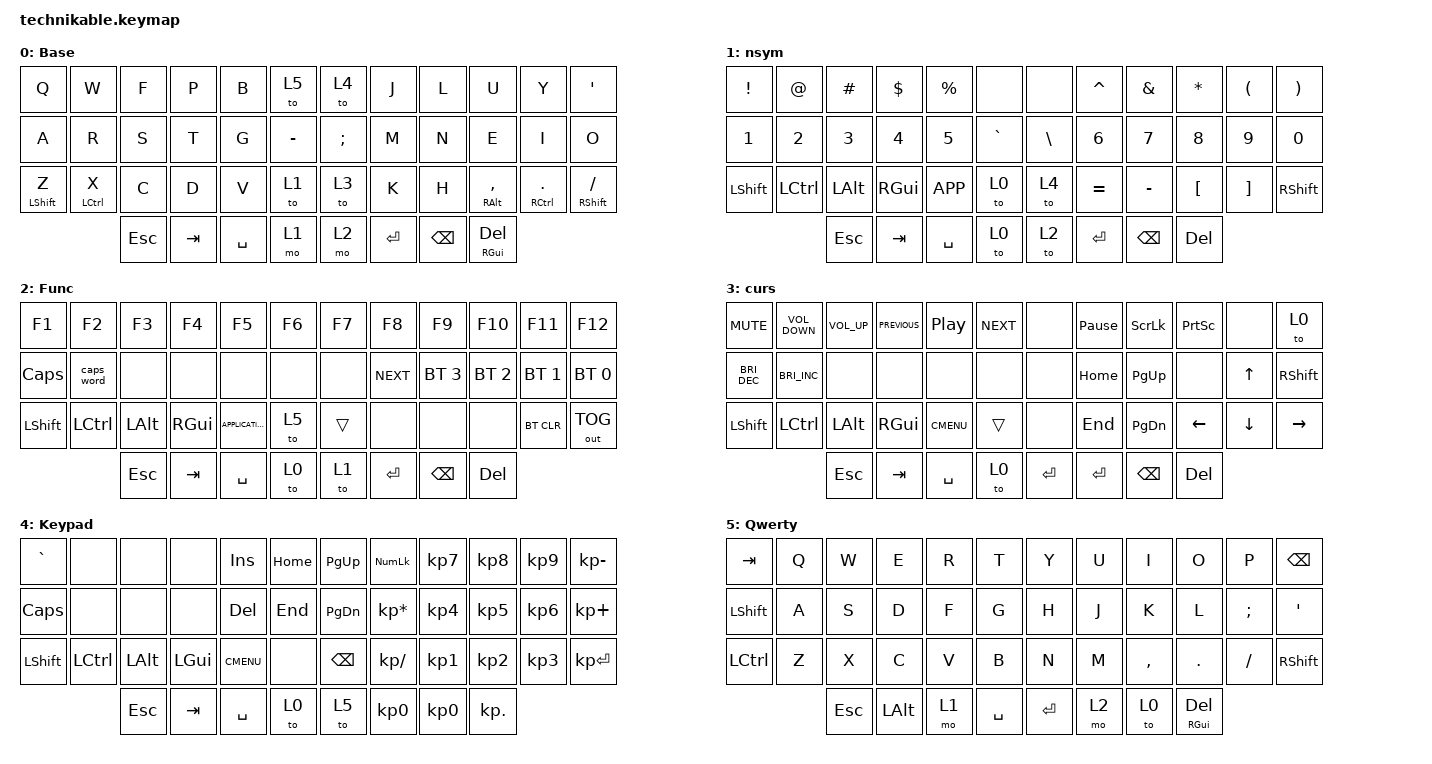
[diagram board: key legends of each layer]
/*
 * Copyright (c) 2022 Pete Johanson
 *
 * SPDX-License-Identifier: MIT
 */

#include <behaviors.dtsi>
#include <dt-bindings/zmk/bt.h>
#include <dt-bindings/zmk/keys.h>
#include <dt-bindings/zmk/outputs.h>

#define BAS_L 0
#define NAV_L 1
#define NUM_L 2
#define SYM_L 3

// Using layer taps on thumbs, having quick tap as well helps w/ repeating space/backspace

&lt { quick_tap_ms = <200>; };

/ {
    chosen { zmk,matrix_transform = &ortho_transform; };

    conditional_layers { compatible = "zmk,conditional-layers"; };

    combos { compatible = "zmk,combos"; };

    keymap {
        compatible = "zmk,keymap";

        Colemakdhm {
            label = "Base";
            bindings = <
&kp Q        &kp W               &kp F    &kp P    &kp B      &to 5             &to 4      &kp J     &kp L                 &kp U                &kp Y                     &kp SINGLE_QUOTE
&kp A        &kp R               &kp S    &kp T    &kp G      &kp MINUS         &kp SEMI   &kp M     &kp N                 &kp E                &kp I                     &kp O
&mt LSHFT Z  &mt LEFT_CONTROL X  &kp C    &kp D    &kp V      &to 1             &to 3      &kp K     &kp H                 &mt RIGHT_ALT COMMA  &mt RIGHT_CONTROL PERIOD  &mt RIGHT_SHIFT SLASH
                                 &kp ESC  &kp TAB  &kp SPACE  &mo 1      &mo 2  &kp ENTER  &kp BSPC  &mt RIGHT_GUI DELETE
            >;
        };

        numbersymbols {
            bindings = <
&kp EXCLAMATION  &kp AT     &kp HASH  &kp DOLLAR     &kp PERCENT  &none             &none      &kp CARET  &kp AMPERSAND  &kp ASTERISK  &kp LEFT_PARENTHESIS  &kp RIGHT_PARENTHESIS
&kp N1           &kp N2     &kp N3    &kp N4         &kp N5       &kp GRAVE         &kp BSLH   &kp N6     &kp N7         &kp N8        &kp N9                &kp N0
&kp LSHFT        &kp LCTRL  &kp LALT  &kp RIGHT_GUI  &kp K_APP    &to 0             &to 4      &kp EQUAL  &kp MINUS      &kp LBKT      &kp RBKT              &kp RSHFT
                            &kp ESC   &kp TAB        &kp SPACE    &to 0      &to 2  &kp ENTER  &kp BSPC   &kp DELETE
            >;

            label = "nsym";
        };

        Fnrow {
            label = "Func";
            bindings = <
&kp F1          &kp F2            &kp F3        &kp F4         &kp F5             &kp F6         &kp F7      &kp F8         &kp F9        &kp F10       &kp F11       &kp F12
&kp CAPS        &caps_word        &none         &none          &none              &none          &none       &kp C_NEXT     &bt BT_SEL 3  &bt BT_SEL 2  &bt BT_SEL 1  &bt BT_SEL 0
&kp LEFT_SHIFT  &kp LEFT_CONTROL  &kp LEFT_ALT  &kp RIGHT_GUI  &kp K_APPLICATION  &to 5          &trans      &none          &none         &none         &bt BT_CLR    &out OUT_TOG
                                  &kp ESC       &kp TAB        &kp SPACE          &to 0   &to 1  &kp RETURN  &kp BACKSPACE  &kp DELETE
            >;
        };

        arrowed {
            label = "curs";
            bindings = <
&kp C_MUTE            &kp C_VOLUME_DOWN     &kp C_VOLUME_UP  &kp C_PREVIOUS  &kp C_PLAY_PAUSE  &kp C_NEXT             &none       &kp PAUSE_BREAK  &kp SCROLLLOCK  &kp PRINTSCREEN  &none           &to 0
&kp C_BRIGHTNESS_DEC  &kp C_BRIGHTNESS_INC  &none            &none           &none             &none                  &none       &kp HOME         &kp PAGE_UP     &none            &kp UP_ARROW    &kp RIGHT_SHIFT
&kp LEFT_SHIFT        &kp LEFT_CONTROL      &kp LEFT_ALT     &kp RIGHT_GUI   &kp K_CMENU       &trans                 &none       &kp END          &kp PAGE_DOWN   &kp LEFT_ARROW   &kp DOWN_ARROW  &kp RIGHT_ARROW
                                            &kp ESC          &kp TAB         &kp SPACE         &to 0       &kp ENTER  &kp RETURN  &kp BACKSPACE    &kp DELETE
            >;
        };

        Keypad {
            bindings = <
&kp GRAVE  &none      &none     &none     &kp INSERT   &kp HOME         &kp PG_UP        &kp KP_NUMLOCK   &kp KP_NUMBER_7  &kp KP_NUMBER_8  &kp KP_NUMBER_9  &kp KP_MINUS
&kp CAPS   &none      &none     &none     &kp DELETE   &kp END          &kp PAGE_DOWN    &kp KP_MULTIPLY  &kp KP_NUMBER_4  &kp KP_NUMBER_5  &kp KP_NUMBER_6  &kp KP_PLUS
&kp LSHFT  &kp LCTRL  &kp LALT  &kp LGUI  &kp K_CMENU  &none            &kp BACKSPACE    &kp KP_DIVIDE    &kp KP_NUMBER_1  &kp KP_NUMBER_2  &kp KP_NUMBER_3  &kp KP_ENTER
                      &kp ESC   &kp TAB   &kp SPACE    &to 0     &to 5  &kp KP_NUMBER_0  &kp KP_NUMBER_0  &kp KP_DOT
            >;
        };

        Qwerty {
            bindings = <
&kp TAB           &kp Q  &kp W    &kp E         &kp R  &kp T                 &kp Y  &kp U  &kp I                 &kp O    &kp P     &kp BACKSPACE
&kp LEFT_SHIFT    &kp A  &kp S    &kp D         &kp F  &kp G                 &kp H  &kp J  &kp K                 &kp L    &kp SEMI  &kp SINGLE_QUOTE
&kp LEFT_CONTROL  &kp Z  &kp X    &kp C         &kp V  &kp B                 &kp N  &kp M  &kp COMMA             &kp DOT  &kp FSLH  &kp RSHFT
                         &kp ESC  &kp LEFT_ALT  &mo 1  &kp SPACE  &kp ENTER  &mo 2  &to 0  &mt RIGHT_GUI DELETE
            >;
        };
    };
};
